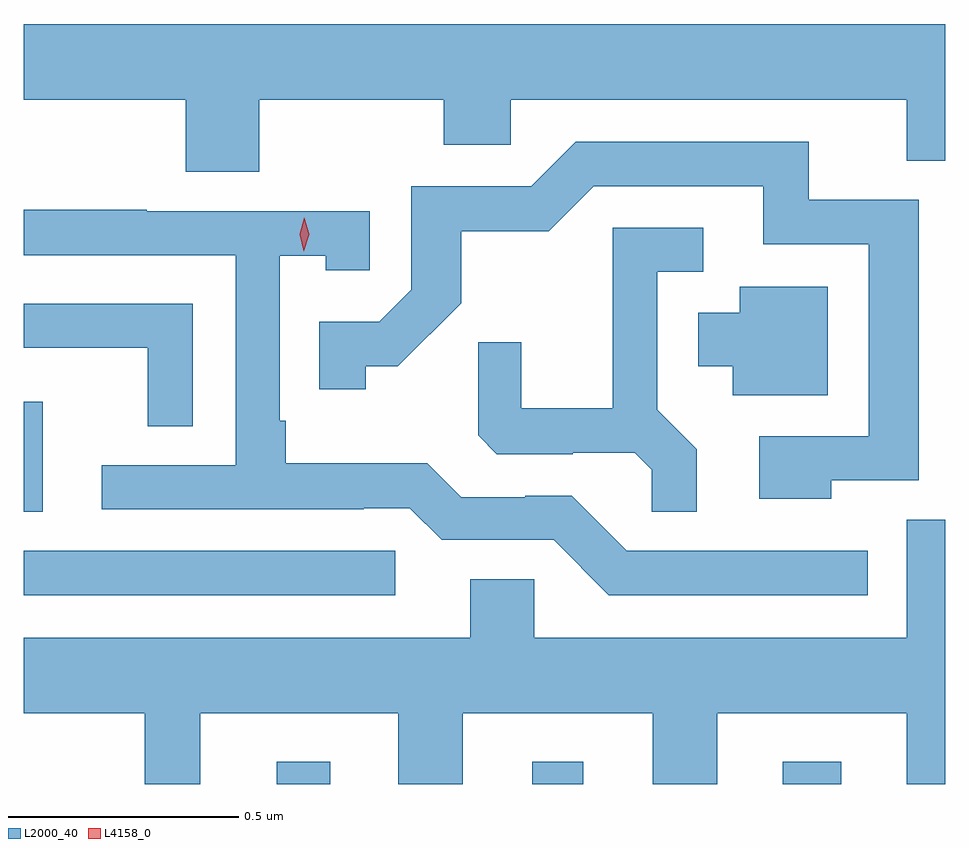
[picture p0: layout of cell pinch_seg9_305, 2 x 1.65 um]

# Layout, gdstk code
import gdstk
lib = gdstk.Library(unit=1e-6, precision=1e-09)
def R(c, l, rs):  # rectangles x0, y0, x1, y1
    for r in rs: c.add(gdstk.rectangle(r[:2], r[2:], *l))
def P(c, l, *ps):  # polygons
    for p in ps: c.add(gdstk.Polygon(p, *l))
L2000_40 = (2000, 40)
L4158_0 = (4158, 0)

pinch_seg9_305 = lib.new_cell('pinch_seg9_305')
R(pinch_seg9_305, L2000_40, [(442.943,1188.274,443.059,1188.322), (443.498,1188.274,443.608,1188.322), (444.041,1188.274,444.169,1188.322), (442.394,1188.684,443.2,1188.78), (442.394,1188.865,442.435,1189.104)])
P(pinch_seg9_305, L2000_40, [(442.905,1189.76),(443.305,1189.76),(443.305,1189.662),(443.451,1189.662),(443.451,1189.76),(444.311,1189.76),(444.311,1189.627),(444.394,1189.627),(444.394,1189.924),(442.394,1189.924),(442.394,1189.76),(442.745,1189.76),(442.745,1189.603),(442.905,1189.603)],
  [(444.147,1188.933),(444.337,1188.933),(444.337,1189.542),(444.098,1189.542),(444.098,1189.668),(443.592,1189.668),(443.496,1189.572),(443.235,1189.572),(443.235,1189.347),(443.166,1189.278),(443.035,1189.278),(443.035,1189.131),(443.136,1189.131),(443.136,1189.181),(443.206,1189.181),(443.344,1189.318),(443.344,1189.474),(443.533,1189.474),(443.631,1189.572),(443.999,1189.572),(443.999,1189.446),(444.228,1189.446),(444.228,1189.029),(443.991,1189.029),(443.991,1188.893),(444.147,1188.893)],
  [(444.226,1188.78),(443.703,1188.78),(443.583,1188.9),(443.482,1188.9),(443.482,1188.897),(443.343,1188.897),(443.27,1188.97),(442.963,1188.97),(442.963,1189.063),(442.95,1189.063),(442.95,1189.421),(443.049,1189.421),(443.049,1189.389),(443.145,1189.389),(443.145,1189.518),(442.661,1189.518),(442.661,1189.521),(442.394,1189.521),(442.394,1189.422),(442.854,1189.422),(442.854,1188.966),(442.563,1188.966),(442.563,1188.87),(443.132,1188.87),(443.132,1188.873),(443.232,1188.873),(443.301,1188.804),(443.544,1188.804),(443.664,1188.684),(444.226,1188.684)],
  [(443.855,1189.001),(443.769,1189.087),(443.769,1189.386),(443.869,1189.386),(443.869,1189.482),(443.672,1189.482),(443.672,1189.09),(443.474,1189.09),(443.474,1189.233),(443.38,1189.233),(443.38,1189.031),(443.421,1188.99),(443.586,1188.99),(443.586,1188.993),(443.72,1188.993),(443.757,1188.956),(443.757,1188.865),(443.855,1188.865)],
  [(444.139,1189.354),(443.948,1189.354),(443.948,1189.297),(443.858,1189.297),(443.858,1189.181),(443.933,1189.181),(443.933,1189.118),(444.139,1189.118)],
  [(442.761,1189.317),(442.394,1189.317),(442.394,1189.221),(442.663,1189.221),(442.663,1189.051),(442.761,1189.051)],
  [(442.777,1188.428),(443.207,1188.428),(443.207,1188.274),(443.347,1188.274),(443.347,1188.428),(443.759,1188.428),(443.759,1188.274),(443.899,1188.274),(443.899,1188.428),(444.311,1188.428),(444.311,1188.274),(444.394,1188.274),(444.394,1188.848),(444.311,1188.848),(444.311,1188.592),(443.502,1188.592),(443.502,1188.719),(443.363,1188.719),(443.363,1188.592),(442.394,1188.592),(442.394,1188.428),(442.656,1188.428),(442.656,1188.274),(442.777,1188.274)])
P(pinch_seg9_305, L4158_0, [(443.002,1189.431),(443.002,1189.431),(442.993,1189.467),(443.003,1189.503),(443.003,1189.503),(443.003,1189.503),(443.013,1189.467),(443.002,1189.431)])

lib.write_gds('pinch_seg9_305.gds')
